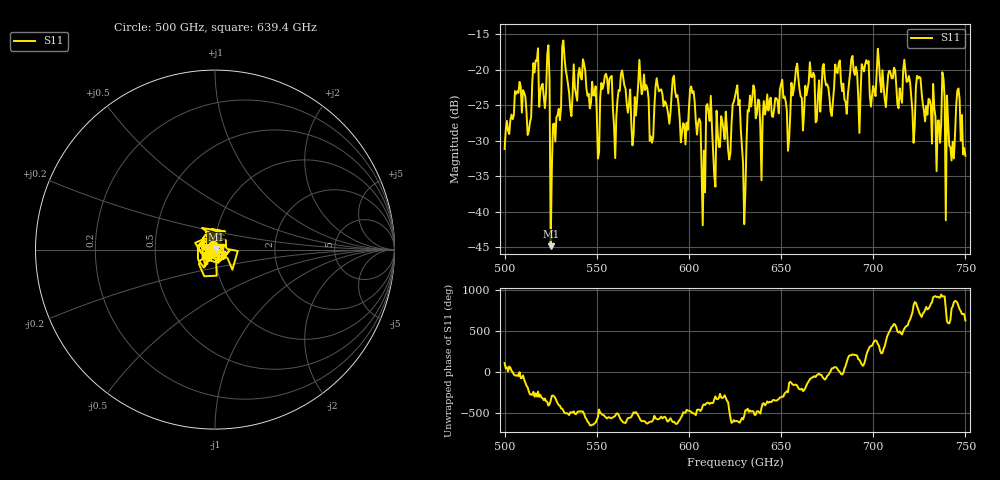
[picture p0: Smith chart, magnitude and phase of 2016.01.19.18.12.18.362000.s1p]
!Created with skrf (http://scikit-rf.org).
# GHz S RI R 50.0
!freq ReS11 ImS11
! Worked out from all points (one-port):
!   401 points, 500 GHz to 750 GHz, reference 50 ohm
!   lowest |S11| = -44.8 dB at 525 GHz (marker M1), VSWR 1.01, Z = 50.6 + j0.0942 ohm
!   |S11| at or under -10 dB: start of sweep to end of sweep
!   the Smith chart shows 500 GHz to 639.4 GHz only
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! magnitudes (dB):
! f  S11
! 500 GHz  -31.2
! 507.5 GHz  -23.3
! 513.1 GHz  -28.7
! 516.9 GHz  -18.7
! 523.1 GHz  -17.9
! 525 GHz  -44.8
! 526.2 GHz  -27.7
! 531.2 GHz  -16.7
! 550.6 GHz  -32.5
! 562.5 GHz  -23.0
! 570 GHz  -29.1
! 574.4 GHz  -23.5
! 580 GHz  -30.3
! 583.1 GHz  -22.3
! 593.8 GHz  -23.6
! 601.9 GHz  -23.3
! 607.5 GHz  -41.9
! 610.6 GHz  -25.9
! 614.4 GHz  -36.5
! 625 GHz  -23.8
! 630 GHz  -41.7
! 634.4 GHz  -23.9
! 656.2 GHz  -23.6
! 687.5 GHz  -20.4
! 718.8 GHz  -21.6
! 742.5 GHz  -32.8
! 746.2 GHz  -22.7
! 750 GHz  -32.1
